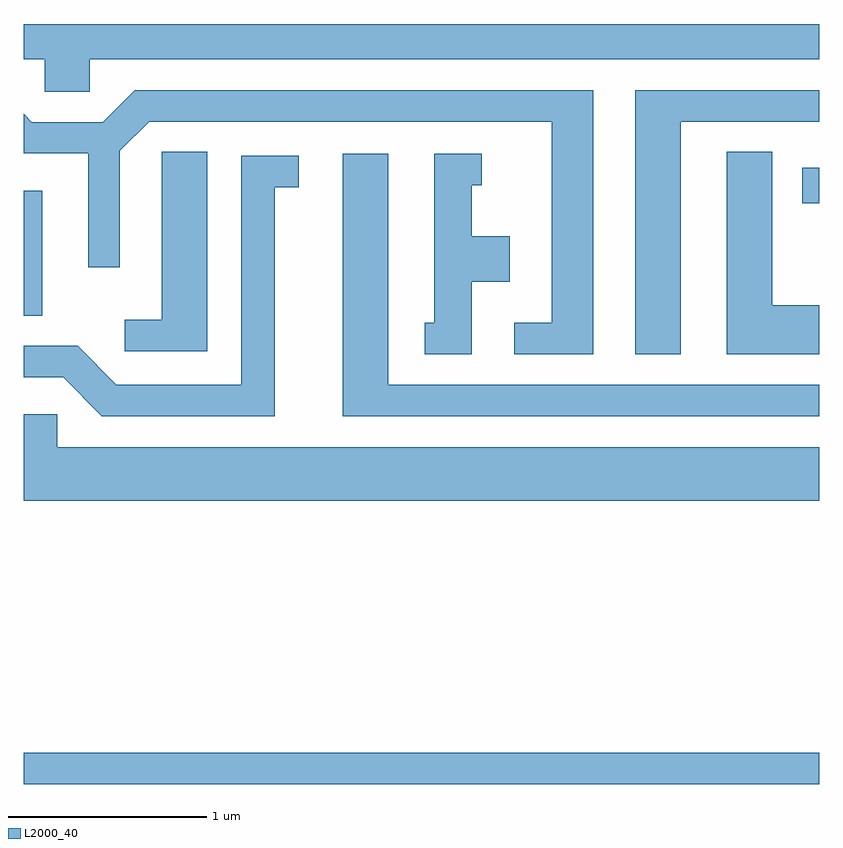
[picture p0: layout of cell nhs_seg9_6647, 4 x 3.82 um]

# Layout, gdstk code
import gdstk
lib = gdstk.Library(unit=1e-6, precision=1e-09)
def R(c, l, rs):  # rectangles x0, y0, x1, y1
    for r in rs: c.add(gdstk.rectangle(r[:2], r[2:], *l))
def P(c, l, *ps):  # polygons
    for p in ps: c.add(gdstk.Polygon(p, *l))
L2000_40 = (2000, 40)

nhs_seg9_6647 = lib.new_cell('nhs_seg9_6647')
R(nhs_seg9_6647, L2000_40, [(381.611,1992.611,385.611,1992.769), (381.611,1994.966,381.704,1995.594), (385.526,1995.531,385.611,1995.709)])
P(nhs_seg9_6647, L2000_40, [(381.944,1996.256),(385.611,1996.256),(385.611,1996.432),(381.611,1996.432),(381.611,1996.256),(381.716,1996.256),(381.716,1996.091),(381.944,1996.091)],
  [(384.914,1995.941),(385.611,1995.941),(385.611,1996.099),(384.686,1996.099),(384.686,1994.771),(384.914,1994.771)],
  [(384.474,1996.099),(382.169,1996.099),(382.009,1995.939),(381.652,1995.939),(381.611,1995.98),(381.611,1995.781),(381.936,1995.781),(381.936,1995.208),(382.094,1995.208),(382.094,1995.794),(382.242,1995.941),(384.266,1995.941),(384.266,1994.929),(384.078,1994.929),(384.078,1994.771),(384.474,1994.771)],
  [(385.611,1995.019),(385.374,1995.019),(385.374,1995.789),(385.146,1995.789),(385.146,1994.771),(385.611,1994.771)],
  [(382.534,1995.789),(382.306,1995.789),(382.306,1994.944),(382.118,1994.944),(382.118,1994.786),(382.534,1994.786)],
  [(385.611,1994.619),(383.444,1994.619),(383.444,1995.779),(383.216,1995.779),(383.216,1994.461),(385.611,1994.461)],
  [(383.864,1995.136),(384.054,1995.136),(384.054,1995.364),(383.864,1995.364),(383.864,1995.621),(383.913,1995.621),(383.913,1995.779),(383.676,1995.779),(383.676,1994.929),(383.628,1994.929),(383.628,1994.771),(383.864,1994.771)],
  [(382.874,1995.611),(382.993,1995.611),(382.993,1995.769),(382.706,1995.769),(382.706,1994.619),(382.077,1994.619),(381.882,1994.814),(381.611,1994.814),(381.611,1994.656),(381.809,1994.656),(382.004,1994.461),(382.874,1994.461)],
  [(385.611,1994.304),(381.779,1994.304),(381.779,1994.469),(381.611,1994.469),(381.611,1994.036),(385.611,1994.036)])

lib.write_gds('nhs_seg9_6647.gds')
